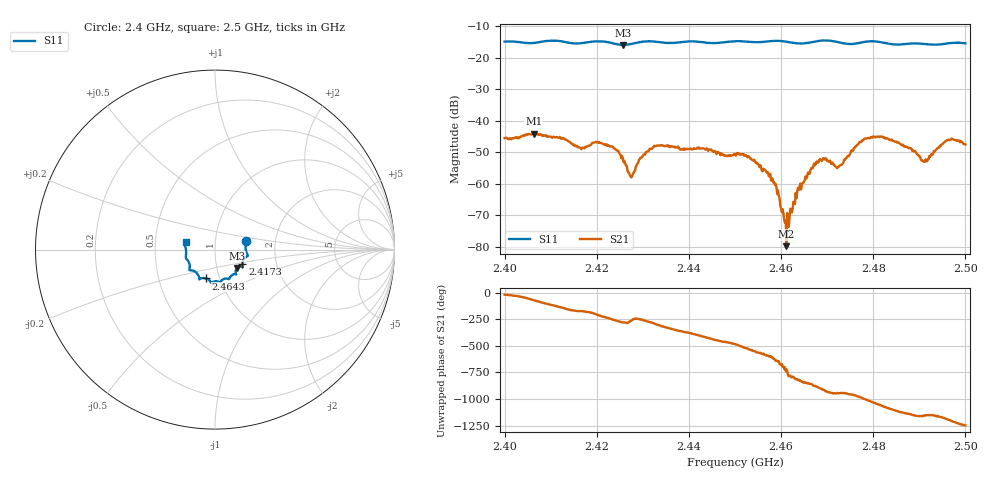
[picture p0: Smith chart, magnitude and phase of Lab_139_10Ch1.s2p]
# Hz S RI R 50
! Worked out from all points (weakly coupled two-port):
!   601 points, 2.4 GHz to 2.5 GHz, reference 50 ohm
!   highest |S21| = -44.13 dB at 2.4063 GHz (marker M1); lowest = -79.9 dB at 2.4612 GHz (marker M2)
!   lowest |S11| = -15.9 dB at 2.4257 GHz (marker M3), VSWR 1.38, Z = 62.5 - j13.1 ohm
!   |S11| at or under -10 dB: start of sweep to end of sweep
!   S12 and S22 are empty: the file has one direction only
!   S11 on the Smith chart (normalised r, x): 2.4 GHz: 1.41, +0.14; 2.4173 GHz: 1.34, -0.23; 2.4643 GHz: 0.86, -0.28; 2.5 GHz: 0.72, +0.06
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2.4e9  0.1733 0.0494  0.005 -0.00169  0 0  0 0
2.406333e9  0.1715 -0.00263  0.00198 -0.00589  0 0  0 0
2.416667e9  0.153 -0.0748  -0.0035 -0.00037  0 0  0 0
2.417333e9  0.1523 -0.0822  -0.00363 -0.000145  0 0  0 0
2.420833e9  0.1543 -0.0965  -0.00349 0.00274  0 0  0 0
2.425667e9  0.1228 -0.1024  0.000403 0.00248  0 0  0 0
2.427667e9  0.1149 -0.1205  -0.000283 0.00127  0 0  0 0
2.429667e9  0.1168 -0.1347  -0.000793 0.00246  0 0  0 0
2.433333e9  0.1129 -0.1368  0.00231 0.00331  0 0  0 0
2.45e9  0.0294 -0.1808  -0.00158 -0.00243  0 0  0 0
2.457167e9  -0.0144 -0.1811  -0.000895 0.00121  0 0  0 0
2.459e9  -0.0216 -0.184  0.000124 0.00086  0 0  0 0
2.461167e9  -0.0264 -0.1775  0.000102 -2.71e-06  0 0  0 0
2.464333e9  -0.05 -0.1606  -0.00028 -0.000754  0 0  0 0
2.466667e9  -0.0759 -0.1596  -0.00137 -0.00114  0 0  0 0
2.469333e9  -0.0877 -0.1662  -0.00238 0.000651  0 0  0 0
2.472667e9  -0.0894 -0.1502  -0.00136 0.00136  0 0  0 0
2.4785e9  -0.1382 -0.1155  0.00154 0.00499  0 0  0 0
2.483333e9  -0.1408 -0.0899  0.00508 -0.000634  0 0  0 0
2.491167e9  -0.1616 -0.033  0.000692 -0.00211  0 0  0 0
2.496e9  -0.1668 0.0191  -0.00159 -0.00459  0 0  0 0
2.5e9  -0.1637 0.0417  -0.00409 -0.000905  0 0  0 0
